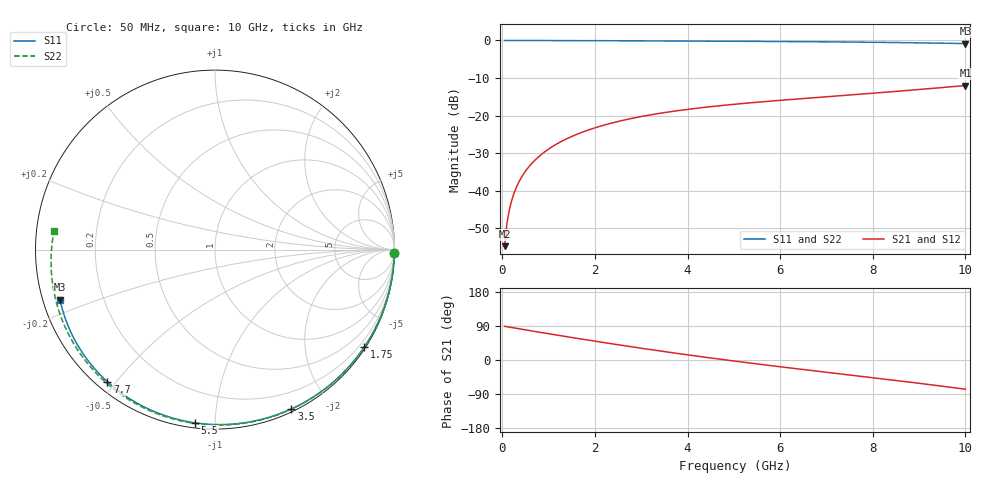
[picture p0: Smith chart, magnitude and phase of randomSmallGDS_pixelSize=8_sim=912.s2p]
! freq	dB(S11)	phase(S11)	dB(S12)	phase(S12)
!  dB(S21)	phase(S21)	dB(S22)	phase(S22)
!S-par simulation data
#  GHz  S  DB  R 50
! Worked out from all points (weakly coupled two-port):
!   200 points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, 50 MHz to 10 GHz, reference 50 ohm
!   highest |S21| = -11.99 dB at 10 GHz (marker M1); lowest = -54.7 dB at 50 MHz (marker M2)
!   lowest |S11| = -0.8 dB at 10 GHz (marker M3), VSWR 20.68, Z = 2.48 - j7.88 ohm
!   |S11| at or under -10 dB: nowhere
!   |S22| runs from -0.9 to 0.0 dB; largest |S21 - S12| = 0
!   S11 on the Smith chart (normalised r, x): 50 MHz: open; 1.75 GHz: 0.04, -3.35; 3.5 GHz: 0.03, -1.59; 5.5 GHz: 0.03, -0.89; 7.7 GHz: 0.03, -0.48; 10 GHz: 0.05, -0.16
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0.05  -0.01 -1.0  -54.72 88.9  -54.72 88.9  -0.01 -1.1
0.1  -0.01 -1.9  -48.70 87.9  -48.70 87.9  -0.01 -2.2
0.15  -0.01 -2.9  -45.18 86.8  -45.18 86.8  -0.01 -3.3
0.2  -0.01 -3.9  -42.69 85.7  -42.69 85.7  -0.01 -4.3
0.25  -0.01 -4.8  -40.76 84.7  -40.76 84.7  -0.01 -5.4
0.35  -0.01 -6.7  -37.85 82.6  -37.85 82.6  -0.01 -7.6
0.5  -0.01 -9.6  -34.78 79.5  -34.78 79.5  -0.02 -10.8
0.7  -0.02 -13.5  -31.90 75.3  -31.90 75.3  -0.02 -15.2
1  -0.03 -19.2  -28.89 69.3  -28.89 69.3  -0.03 -21.6
1.35  -0.04 -25.8  -26.40 62.3  -26.40 62.3  -0.05 -29.0
1.75  -0.06 -33.2  -24.30 54.5  -24.30 54.5  -0.06 -37.4
2.6  -0.09 -48.7  -21.26 38.4  -21.26 38.4  -0.10 -54.7
3.4  -0.13 -62.6  -19.39 23.9  -19.39 23.9  -0.14 -70.3
3.5  -0.14 -64.4  -19.19 22.2  -19.19 22.2  -0.15 -72.2
4.25  -0.17 -76.9  -17.96 9.4  -17.96 9.4  -0.19 -86.3
5.05  -0.22 -89.7  -16.93 -3.4  -16.93 -3.4  -0.24 -100.6
5.5  -0.25 -96.7  -16.44 -10.4  -16.44 -10.4  -0.27 -108.5
6.7  -0.35 -114.7  -15.27 -28.1  -15.27 -28.1  -0.37 -129.0
7.7  -0.45 -129.1  -14.33 -42.4  -14.33 -42.4  -0.48 -145.8
8.35  -0.54 -138.4  -13.70 -51.8  -13.70 -51.8  -0.57 -156.9
9.2  -0.68 -150.5  -12.85 -64.5  -12.85 -64.5  -0.72 -171.8
10  -0.84 -162.0  -11.99 -77.1  -11.99 -77.1  -0.89 173.4
